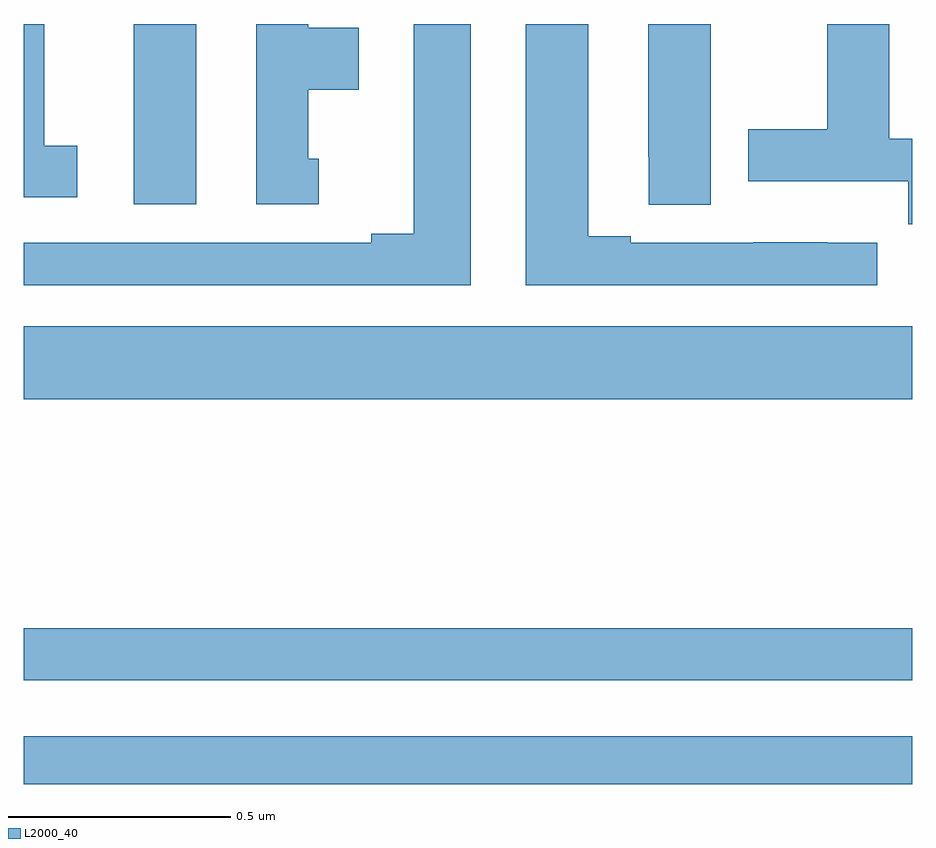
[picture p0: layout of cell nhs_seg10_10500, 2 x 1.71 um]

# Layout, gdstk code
import gdstk
lib = gdstk.Library(unit=1e-6, precision=1e-09)
def R(c, l, rs):  # rectangles x0, y0, x1, y1
    for r in rs: c.add(gdstk.rectangle(r[:2], r[2:], *l))
def P(c, l, *ps):  # polygons
    for p in ps: c.add(gdstk.Polygon(p, *l))
L2000_40 = (2000, 40)

nhs_seg10_10500 = lib.new_cell('nhs_seg10_10500')
R(nhs_seg10_10500, L2000_40, [(243,1292.79,245,1292.898), (243,1293.024,245,1293.14), (243,1293.656,245,1293.82), (243.248,1294.095,243.388,1294.5)])
P(nhs_seg10_10500, L2000_40, [(244.546,1294.5),(244.406,1294.5),(244.406,1294.201),(244.407,1294.201),(244.407,1294.093),(244.546,1294.093)],
  [(244.006,1294.5),(243.878,1294.5),(243.878,1294.028),(243.782,1294.028),(243.782,1294.008),(243,1294.008),(243,1293.912),(244.006,1293.912)],
  [(243.664,1294.197),(243.64,1294.197),(243.64,1294.352),(243.754,1294.352),(243.754,1294.492),(243.64,1294.492),(243.64,1294.5),(243.524,1294.5),(243.524,1294.095),(243.664,1294.095)],
  [(244.921,1294.008),(244.808,1294.008),(244.808,1294.009),(244.642,1294.009),(244.642,1294.008),(244.366,1294.008),(244.366,1294.023),(244.27,1294.023),(244.27,1294.5),(244.13,1294.5),(244.13,1293.912),(244.921,1293.912)],
  [(243.121,1294.226),(243.046,1294.226),(243.046,1294.5),(243,1294.5),(243,1294.11),(243.121,1294.11)],
  [(245,1294.242),(244.948,1294.242),(244.948,1294.5),(244.808,1294.5),(244.808,1294.263),(244.631,1294.263),(244.631,1294.146),(244.99,1294.146),(244.99,1294.05),(245,1294.05)])

lib.write_gds('nhs_seg10_10500.gds')
